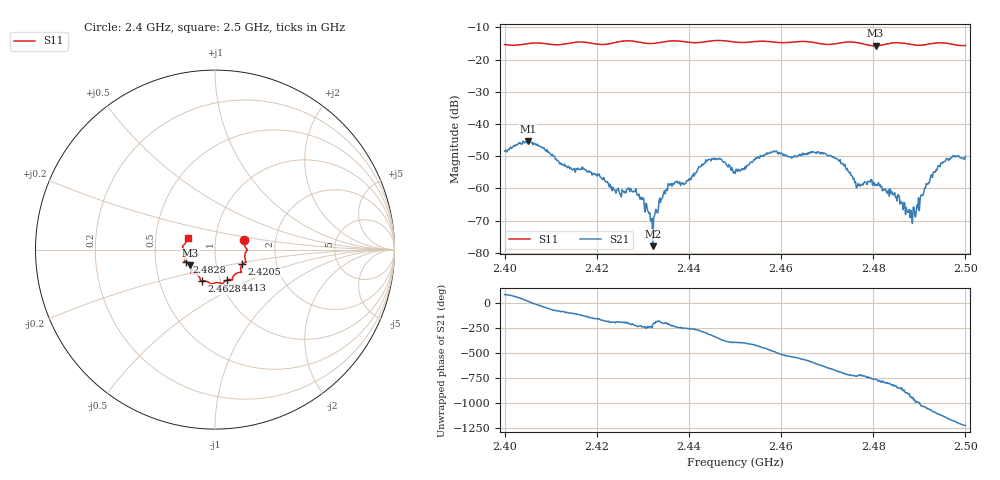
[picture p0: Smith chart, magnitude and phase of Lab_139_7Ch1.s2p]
# Hz S RI R 50
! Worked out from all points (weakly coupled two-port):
!   601 points, 2.4 GHz to 2.5 GHz, reference 50 ohm
!   highest |S21| = -45.29 dB at 2.405 GHz (marker M1); lowest = -77.9 dB at 2.4322 GHz (marker M2)
!   lowest |S11| = -15.7 dB at 2.4805 GHz (marker M3), VSWR 1.39, Z = 37.3 - j6.66 ohm
!   |S11| at or under -10 dB: start of sweep to end of sweep
!   S12 and S22 are empty: the file has one direction only
!   S11 on the Smith chart (normalised r, x): 2.4 GHz: 1.38, +0.15; 2.4205 GHz: 1.34, -0.22; 2.4413 GHz: 1.08, -0.38; 2.4628 GHz: 0.82, -0.29; 2.4828 GHz: 0.72, -0.10; 2.5 GHz: 0.73, +0.10
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2.4e9  0.1627 0.0526  0.00014 0.0038  0 0  0 0
2.405e9  0.1761 0.00381  0.00505 0.002  0 0  0 0
2.416667e9  0.1737 -0.0696  -0.00089 -0.00176  0 0  0 0
2.4205e9  0.1516 -0.0809  -0.00152 -0.00072  0 0  0 0
2.428667e9  0.1407 -0.1264  -0.00054 0.000603  0 0  0 0
2.432167e9  0.1067 -0.1416  -0.000107 6.9e-05  0 0  0 0
2.433333e9  0.1001 -0.1517  -0.000442 -1.8e-05  0 0  0 0
2.436e9  0.0979 -0.1679  -0.000911 0.000763  0 0  0 0
2.441333e9  0.0675 -0.1694  -0.000313 0.0017  0 0  0 0
2.4455e9  0.0427 -0.1916  0.00255 0.00147  0 0  0 0
2.45e9  0.0245 -0.1852  0.00147 -0.000867  0 0  0 0
2.458167e9  -0.0314 -0.185  -0.00176 -0.00323  0 0  0 0
2.462833e9  -0.0713 -0.1735  -0.00309 4.96e-05  0 0  0 0
2.466667e9  -0.0813 -0.1675  -0.0024 0.00267  0 0  0 0
2.472333e9  -0.1214 -0.1306  0.00213 0.00181  0 0  0 0
2.476833e9  -0.1314 -0.1242  0.00112 -2.27e-05  0 0  0 0
2.4805e9  -0.1384 -0.0869  0.000884 -0.000761  0 0  0 0
2.482833e9  -0.1588 -0.0702  0.000154 -0.000876  0 0  0 0
2.483333e9  -0.1627 -0.0684  0.000148 -0.000936  0 0  0 0
2.488833e9  -0.1643 -0.0374  -0.000177 0.000484  0 0  0 0
2.4945e9  -0.1813 0.0168  0.0017 -0.00136  0 0  0 0
2.5e9  -0.1517 0.0641  -0.00252 -0.00187  0 0  0 0
